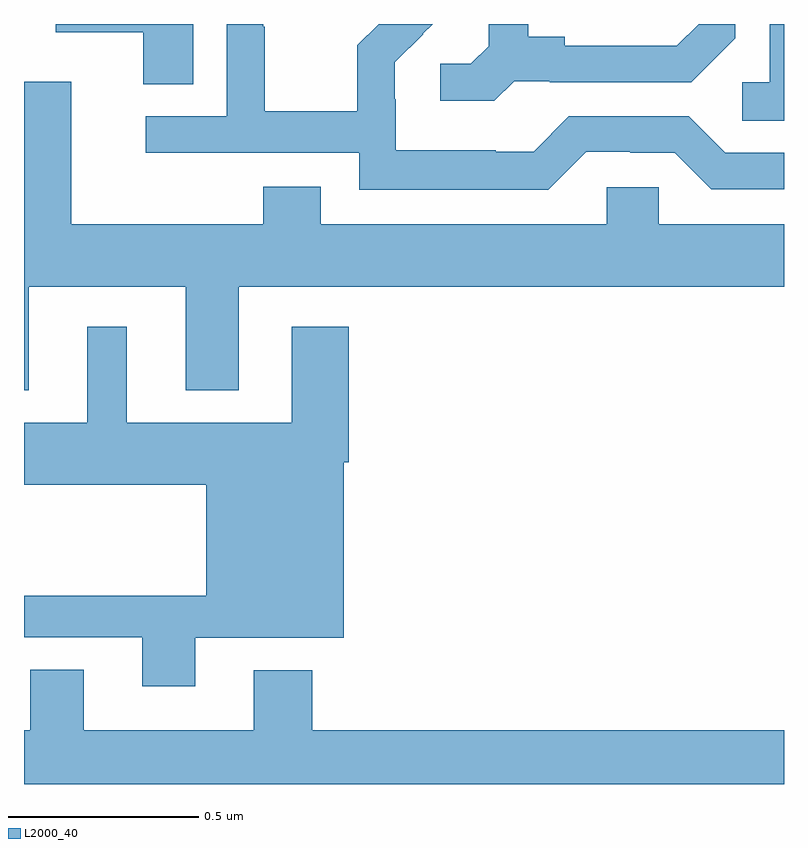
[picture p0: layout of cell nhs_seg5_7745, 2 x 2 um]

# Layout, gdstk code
import gdstk
lib = gdstk.Library(unit=1e-6, precision=1e-09)
def P(c, l, *ps):  # polygons
    for p in ps: c.add(gdstk.Polygon(p, *l))
L2000_40 = (2000, 40)

nhs_seg5_7745 = lib.new_cell('nhs_seg5_7745')
P(nhs_seg5_7745, L2000_40, [(214.479,842.463),(214.595,842.463),(214.595,842.46),(214.713,842.46),(214.809,842.364),(215,842.364),(215,842.46),(214.845,842.46),(214.749,842.556),(214.434,842.556),(214.341,842.463),(214.241,842.463),(214.241,842.467),(213.978,842.467),(213.978,842.601),(213.976,842.601),(213.976,842.698),(214.05,842.772),(214.049,842.773),(214.075,842.799),(213.933,842.799),(213.877,842.743),(213.877,842.569),(213.633,842.569),(213.633,842.792),(213.63,842.792),(213.63,842.799),(213.534,842.799),(213.534,842.556),(213.321,842.556),(213.321,842.46),(213.882,842.46),(213.882,842.363),(214.379,842.363)],
  [(214.29,842.649),(214.384,842.649),(214.384,842.646),(214.756,842.646),(214.872,842.762),(214.872,842.799),(214.775,842.799),(214.718,842.742),(214.423,842.742),(214.423,842.765),(214.327,842.765),(214.327,842.799),(214.223,842.799),(214.223,842.741),(214.176,842.694),(214.095,842.694),(214.095,842.597),(214.238,842.597)],
  [(215,842.799),(214.962,842.799),(214.962,842.646),(214.89,842.646),(214.89,842.545),(215,842.545)],
  [(213.445,842.799),(213.084,842.799),(213.084,842.777),(213.314,842.777),(213.314,842.641),(213.445,842.641)],
  [(213.013,842.108),(213.425,842.108),(213.425,841.835),(213.565,841.835),(213.565,842.108),(215,842.108),(215,842.272),(214.671,842.272),(214.671,842.37),(214.533,842.37),(214.533,842.272),(213.781,842.272),(213.781,842.371),(213.629,842.371),(213.629,842.272),(213.124,842.272),(213.124,842.647),(213,842.647),(213,841.835),(213.013,841.835)],
  [(213.451,841.184),(213.841,841.184),(213.841,841.646),(213.854,841.646),(213.854,842.002),(213.704,842.002),(213.704,841.75),(213.271,841.75),(213.271,842.002),(213.167,842.002),(213.167,841.75),(213,841.75),(213,841.586),(213.479,841.586),(213.479,841.294),(213,841.294),(213,841.185),(213.311,841.185),(213.311,841.056),(213.451,841.056)],
  [(215,840.94),(213.758,840.94),(213.758,841.099),(213.605,841.099),(213.605,840.94),(213.157,840.94),(213.157,841.1),(213.017,841.1),(213.017,840.94),(213,840.94),(213,840.799),(215,840.799)])

lib.write_gds('nhs_seg5_7745.gds')
